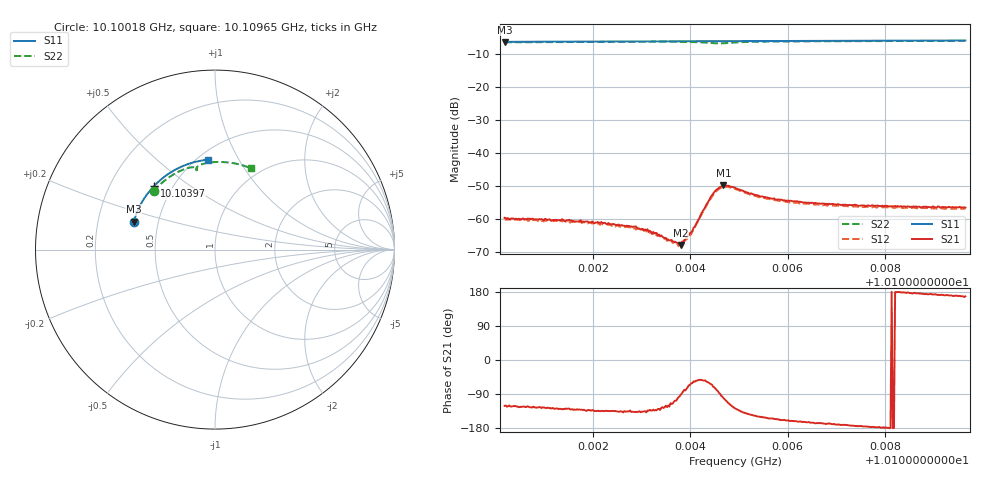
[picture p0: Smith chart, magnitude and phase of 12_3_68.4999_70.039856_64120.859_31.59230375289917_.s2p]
#  HZ  S  RI  R  50.00
! Rohde & Schwarz Vector Network Analyzer
! Rohde-Schwarz,ZNB20-2Port,1311601062101988,3.16
! Created: UTC 3/20/2024, 5:04:13 PM
! freq[Hz]  re:S11  im:S11  re:S21  im:S21  re:S12  im:S12  re:S22  im:S22
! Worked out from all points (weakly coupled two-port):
!   401 points, 10.10018 GHz to 10.10965 GHz, reference 50 ohm
!   highest |S21| = -49.97 dB at 10.10468 GHz (marker M1); lowest = -68.0 dB at 10.10381 GHz (marker M2)
!   lowest |S11| = -6.4 dB at 10.10018 GHz (marker M3), VSWR 2.84, Z = 18 + j7.32 ohm
!   |S11| at or under -10 dB: nowhere
!   |S22| runs from -6.9 to -6.1 dB; largest |S21 - S12| = 0.00032
!   S11 on the Smith chart (normalised r, x): 10.10018 GHz: 0.36, +0.15; 10.10397 GHz: 0.40, +0.37; 10.10965 GHz: 0.56, +0.76
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1.0100184e10  -0.4528 0.1562  -0.000527 -0.00088  -0.00042 -0.000864  -0.3424 0.3242
1.0100587e10  -0.4454 0.1798  -0.000526 -0.000824  -0.000456 -0.000835  -0.325 0.3435
1.0100705e10  -0.443 0.1865  -0.00057 -0.000818  -0.000482 -0.000835  -0.3196 0.3489
1.010177e10  -0.4171 0.246  -0.00058 -0.000664  -0.000508 -0.000692  -0.2674 0.3942
1.0102315e10  -0.4007 0.2749  -0.000601 -0.000612  -0.000523 -0.000614  -0.2382 0.4143
1.0102836e10  -0.3834 0.3013  -0.000552 -0.000512  -0.000469 -0.000527  -0.2082 0.4316
1.0103025e10  -0.3767 0.3104  -0.000505 -0.000476  -0.000435 -0.00051  -0.197 0.4371
1.0103356e10  -0.3644 0.3264  -0.000361 -0.000445  -0.000323 -0.000449  -0.1766 0.4464
1.0103712e10  -0.3501 0.3428  -0.00013 -0.000413  -6.87e-05 -0.000421  -0.1526 0.4547
1.0103806e10  -0.3463 0.347  -8.51e-06 -0.000398  1.32e-05 -0.000426  -0.1459 0.4561
1.0103854e10  -0.3444 0.349  5.6e-05 -0.000449  7.14e-05 -0.00042  -0.1424 0.4569
1.0103972e10  -0.3395 0.3542  0.000223 -0.000521  0.000246 -0.000469  -0.1335 0.4584
1.0104067e10  -0.3355 0.3585  0.000402 -0.000601  0.00042 -0.000562  -0.1262 0.4588
1.0104445e10  -0.319 0.3744  0.000941 -0.00204  0.00101 -0.0019  -0.1002 0.4483
1.0104564e10  -0.3139 0.3793  0.00039 -0.00279  0.000593 -0.00264  -0.1004 0.4426
1.0104682e10  -0.3085 0.384  -0.000582 -0.00312  -0.000273 -0.00302  -0.1043 0.4433
1.0104919e10  -0.2978 0.3933  -0.00179 -0.00233  -0.00149 -0.00238  -0.1015 0.4578
1.010525e10  -0.282 0.4059  -0.00197 -0.00138  -0.00174 -0.00147  -0.0807 0.4724
1.0105653e10  -0.2623 0.4202  -0.00181 -0.00088  -0.00167 -0.00101  -0.053 0.4811
1.0106505e10  -0.2181 0.4468  -0.00168 -0.000438  -0.00156 -0.00056  0.00399 0.4881
1.0108091e10  -0.1296 0.4835  -0.00154 -5.86e-06  -0.00147 -0.000164  0.1061 0.4807
1.0109653e10  -0.0368 0.5015  -0.00143 0.000307  -0.00139 0.00013  0.2014 0.4525
